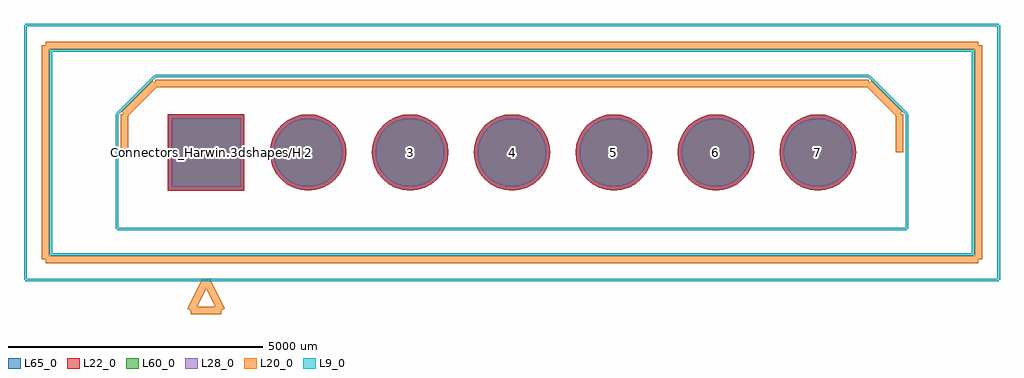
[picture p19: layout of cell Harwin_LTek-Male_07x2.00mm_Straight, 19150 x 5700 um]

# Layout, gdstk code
import gdstk
lib = gdstk.Library(unit=1e-6, precision=1e-09)
def R(c, l, rs):  # rectangles x0, y0, x1, y1
    for r in rs: c.add(gdstk.rectangle(r[:2], r[2:], *l))
def P(c, l, *ps):  # polygons
    for p in ps: c.add(gdstk.Polygon(p, *l))
L9_0 = (9, 0)
L20_0 = (20, 0)
L22_0 = (22, 0)
L28_0 = (28, 0)
L60_0 = (60, 0)
L65_0 = (65, 0)

harwin_ltek_male_07x2_00 = lib.new_cell('Harwin_LTek-Male_07x2.00mm_Straight')
R(harwin_ltek_male_07x2_00, L22_0, [(-750,-750,750,750)])
P(harwin_ltek_male_07x2_00, L22_0, [(12750,0),(12735.589,146.318),(12692.91,287.013),(12623.602,416.678),(12530.33,530.33),(12416.678,623.602),(12287.013,692.91),(12146.318,735.589),(12000,750),(11853.682,735.589),(11712.987,692.91),(11583.322,623.602),(11469.67,530.33),(11376.398,416.678),(11307.09,287.013),(11264.411,146.318),(11250,0),(11264.411,-146.318),(11307.09,-287.013),(11376.398,-416.678),(11469.67,-530.33),(11583.322,-623.602),(11712.987,-692.91),(11853.682,-735.589),(12000,-750),(12146.318,-735.589),(12287.013,-692.91),(12416.678,-623.602),(12530.33,-530.33),(12623.602,-416.678),(12692.91,-287.013),(12735.589,-146.318)],
  [(10750,0),(10735.589,146.318),(10692.91,287.013),(10623.602,416.678),(10530.33,530.33),(10416.678,623.602),(10287.013,692.91),(10146.318,735.589),(10000,750),(9853.682,735.589),(9712.987,692.91),(9583.322,623.602),(9469.67,530.33),(9376.398,416.678),(9307.09,287.013),(9264.411,146.318),(9250,0),(9264.411,-146.318),(9307.09,-287.013),(9376.398,-416.678),(9469.67,-530.33),(9583.322,-623.602),(9712.987,-692.91),(9853.682,-735.589),(10000,-750),(10146.318,-735.589),(10287.013,-692.91),(10416.678,-623.602),(10530.33,-530.33),(10623.602,-416.678),(10692.91,-287.013),(10735.589,-146.318)],
  [(8750,0),(8735.589,146.318),(8692.91,287.013),(8623.602,416.678),(8530.33,530.33),(8416.678,623.602),(8287.013,692.91),(8146.318,735.589),(8000,750),(7853.682,735.589),(7712.987,692.91),(7583.322,623.602),(7469.67,530.33),(7376.398,416.678),(7307.09,287.013),(7264.411,146.318),(7250,0),(7264.411,-146.318),(7307.09,-287.013),(7376.398,-416.678),(7469.67,-530.33),(7583.322,-623.602),(7712.987,-692.91),(7853.682,-735.589),(8000,-750),(8146.318,-735.589),(8287.013,-692.91),(8416.678,-623.602),(8530.33,-530.33),(8623.602,-416.678),(8692.91,-287.013),(8735.589,-146.318)],
  [(6750,0),(6735.589,146.318),(6692.91,287.013),(6623.602,416.678),(6530.33,530.33),(6416.678,623.602),(6287.013,692.91),(6146.318,735.589),(6000,750),(5853.682,735.589),(5712.987,692.91),(5583.322,623.602),(5469.67,530.33),(5376.398,416.678),(5307.09,287.013),(5264.411,146.318),(5250,0),(5264.411,-146.318),(5307.09,-287.013),(5376.398,-416.678),(5469.67,-530.33),(5583.322,-623.602),(5712.987,-692.91),(5853.682,-735.589),(6000,-750),(6146.318,-735.589),(6287.013,-692.91),(6416.678,-623.602),(6530.33,-530.33),(6623.602,-416.678),(6692.91,-287.013),(6735.589,-146.318)],
  [(4750,0),(4735.589,146.318),(4692.91,287.013),(4623.602,416.678),(4530.33,530.33),(4416.678,623.602),(4287.013,692.91),(4146.318,735.589),(4000,750),(3853.682,735.589),(3712.987,692.91),(3583.322,623.602),(3469.67,530.33),(3376.398,416.678),(3307.09,287.013),(3264.411,146.318),(3250,0),(3264.411,-146.318),(3307.09,-287.013),(3376.398,-416.678),(3469.67,-530.33),(3583.322,-623.602),(3712.987,-692.91),(3853.682,-735.589),(4000,-750),(4146.318,-735.589),(4287.013,-692.91),(4416.678,-623.602),(4530.33,-530.33),(4623.602,-416.678),(4692.91,-287.013),(4735.589,-146.318)],
  [(2750,0),(2735.589,146.318),(2692.91,287.013),(2623.602,416.678),(2530.33,530.33),(2416.678,623.602),(2287.013,692.91),(2146.318,735.589),(2000,750),(1853.682,735.589),(1712.987,692.91),(1583.322,623.602),(1469.67,530.33),(1376.398,416.678),(1307.09,287.013),(1264.411,146.318),(1250,0),(1264.411,-146.318),(1307.09,-287.013),(1376.398,-416.678),(1469.67,-530.33),(1583.322,-623.602),(1712.987,-692.91),(1853.682,-735.589),(2000,-750),(2146.318,-735.589),(2287.013,-692.91),(2416.678,-623.602),(2530.33,-530.33),(2623.602,-416.678),(2692.91,-287.013),(2735.589,-146.318)])
R(harwin_ltek_male_07x2_00, L28_0, [(-675,-675,675,675)])
P(harwin_ltek_male_07x2_00, L28_0, [(12675,0),(12662.03,131.686),(12623.619,258.311),(12561.242,375.01),(12477.297,477.297),(12375.01,561.242),(12258.311,623.619),(12131.686,662.03),(12000,675),(11868.314,662.03),(11741.689,623.619),(11624.99,561.242),(11522.703,477.297),(11438.758,375.01),(11376.381,258.311),(11337.97,131.686),(11325,0),(11337.97,-131.686),(11376.381,-258.311),(11438.758,-375.01),(11522.703,-477.297),(11624.99,-561.242),(11741.689,-623.619),(11868.314,-662.03),(12000,-675),(12131.686,-662.03),(12258.311,-623.619),(12375.01,-561.242),(12477.297,-477.297),(12561.242,-375.01),(12623.619,-258.311),(12662.03,-131.686)],
  [(10675,0),(10662.03,131.686),(10623.619,258.311),(10561.242,375.01),(10477.297,477.297),(10375.01,561.242),(10258.311,623.619),(10131.686,662.03),(10000,675),(9868.314,662.03),(9741.689,623.619),(9624.99,561.242),(9522.703,477.297),(9438.758,375.01),(9376.381,258.311),(9337.97,131.686),(9325,0),(9337.97,-131.686),(9376.381,-258.311),(9438.758,-375.01),(9522.703,-477.297),(9624.99,-561.242),(9741.689,-623.619),(9868.314,-662.03),(10000,-675),(10131.686,-662.03),(10258.311,-623.619),(10375.01,-561.242),(10477.297,-477.297),(10561.242,-375.01),(10623.619,-258.311),(10662.03,-131.686)],
  [(8675,0),(8662.03,131.686),(8623.619,258.311),(8561.242,375.01),(8477.297,477.297),(8375.01,561.242),(8258.311,623.619),(8131.686,662.03),(8000,675),(7868.314,662.03),(7741.689,623.619),(7624.99,561.242),(7522.703,477.297),(7438.758,375.01),(7376.381,258.311),(7337.97,131.686),(7325,0),(7337.97,-131.686),(7376.381,-258.311),(7438.758,-375.01),(7522.703,-477.297),(7624.99,-561.242),(7741.689,-623.619),(7868.314,-662.03),(8000,-675),(8131.686,-662.03),(8258.311,-623.619),(8375.01,-561.242),(8477.297,-477.297),(8561.242,-375.01),(8623.619,-258.311),(8662.03,-131.686)],
  [(6675,0),(6662.03,131.686),(6623.619,258.311),(6561.242,375.01),(6477.297,477.297),(6375.01,561.242),(6258.311,623.619),(6131.686,662.03),(6000,675),(5868.314,662.03),(5741.689,623.619),(5624.99,561.242),(5522.703,477.297),(5438.758,375.01),(5376.381,258.311),(5337.97,131.686),(5325,0),(5337.97,-131.686),(5376.381,-258.311),(5438.758,-375.01),(5522.703,-477.297),(5624.99,-561.242),(5741.689,-623.619),(5868.314,-662.03),(6000,-675),(6131.686,-662.03),(6258.311,-623.619),(6375.01,-561.242),(6477.297,-477.297),(6561.242,-375.01),(6623.619,-258.311),(6662.03,-131.686)],
  [(4675,0),(4662.03,131.686),(4623.619,258.311),(4561.242,375.01),(4477.297,477.297),(4375.01,561.242),(4258.311,623.619),(4131.686,662.03),(4000,675),(3868.314,662.03),(3741.689,623.619),(3624.99,561.242),(3522.703,477.297),(3438.758,375.01),(3376.381,258.311),(3337.97,131.686),(3325,0),(3337.97,-131.686),(3376.381,-258.311),(3438.758,-375.01),(3522.703,-477.297),(3624.99,-561.242),(3741.689,-623.619),(3868.314,-662.03),(4000,-675),(4131.686,-662.03),(4258.311,-623.619),(4375.01,-561.242),(4477.297,-477.297),(4561.242,-375.01),(4623.619,-258.311),(4662.03,-131.686)],
  [(2675,0),(2662.03,131.686),(2623.619,258.311),(2561.242,375.01),(2477.297,477.297),(2375.01,561.242),(2258.311,623.619),(2131.686,662.03),(2000,675),(1868.314,662.03),(1741.689,623.619),(1624.99,561.242),(1522.703,477.297),(1438.758,375.01),(1376.381,258.311),(1337.97,131.686),(1325,0),(1337.97,-131.686),(1376.381,-258.311),(1438.758,-375.01),(1522.703,-477.297),(1624.99,-561.242),(1741.689,-623.619),(1868.314,-662.03),(2000,-675),(2131.686,-662.03),(2258.311,-623.619),(2375.01,-561.242),(2477.297,-477.297),(2561.242,-375.01),(2623.619,-258.311),(2662.03,-131.686)])
R(harwin_ltek_male_07x2_00, L60_0, [(-675,-675,675,675)])
P(harwin_ltek_male_07x2_00, L60_0, [(12675,0),(12662.03,131.686),(12623.619,258.311),(12561.242,375.01),(12477.297,477.297),(12375.01,561.242),(12258.311,623.619),(12131.686,662.03),(12000,675),(11868.314,662.03),(11741.689,623.619),(11624.99,561.242),(11522.703,477.297),(11438.758,375.01),(11376.381,258.311),(11337.97,131.686),(11325,0),(11337.97,-131.686),(11376.381,-258.311),(11438.758,-375.01),(11522.703,-477.297),(11624.99,-561.242),(11741.689,-623.619),(11868.314,-662.03),(12000,-675),(12131.686,-662.03),(12258.311,-623.619),(12375.01,-561.242),(12477.297,-477.297),(12561.242,-375.01),(12623.619,-258.311),(12662.03,-131.686)],
  [(10675,0),(10662.03,131.686),(10623.619,258.311),(10561.242,375.01),(10477.297,477.297),(10375.01,561.242),(10258.311,623.619),(10131.686,662.03),(10000,675),(9868.314,662.03),(9741.689,623.619),(9624.99,561.242),(9522.703,477.297),(9438.758,375.01),(9376.381,258.311),(9337.97,131.686),(9325,0),(9337.97,-131.686),(9376.381,-258.311),(9438.758,-375.01),(9522.703,-477.297),(9624.99,-561.242),(9741.689,-623.619),(9868.314,-662.03),(10000,-675),(10131.686,-662.03),(10258.311,-623.619),(10375.01,-561.242),(10477.297,-477.297),(10561.242,-375.01),(10623.619,-258.311),(10662.03,-131.686)],
  [(8675,0),(8662.03,131.686),(8623.619,258.311),(8561.242,375.01),(8477.297,477.297),(8375.01,561.242),(8258.311,623.619),(8131.686,662.03),(8000,675),(7868.314,662.03),(7741.689,623.619),(7624.99,561.242),(7522.703,477.297),(7438.758,375.01),(7376.381,258.311),(7337.97,131.686),(7325,0),(7337.97,-131.686),(7376.381,-258.311),(7438.758,-375.01),(7522.703,-477.297),(7624.99,-561.242),(7741.689,-623.619),(7868.314,-662.03),(8000,-675),(8131.686,-662.03),(8258.311,-623.619),(8375.01,-561.242),(8477.297,-477.297),(8561.242,-375.01),(8623.619,-258.311),(8662.03,-131.686)],
  [(6675,0),(6662.03,131.686),(6623.619,258.311),(6561.242,375.01),(6477.297,477.297),(6375.01,561.242),(6258.311,623.619),(6131.686,662.03),(6000,675),(5868.314,662.03),(5741.689,623.619),(5624.99,561.242),(5522.703,477.297),(5438.758,375.01),(5376.381,258.311),(5337.97,131.686),(5325,0),(5337.97,-131.686),(5376.381,-258.311),(5438.758,-375.01),(5522.703,-477.297),(5624.99,-561.242),(5741.689,-623.619),(5868.314,-662.03),(6000,-675),(6131.686,-662.03),(6258.311,-623.619),(6375.01,-561.242),(6477.297,-477.297),(6561.242,-375.01),(6623.619,-258.311),(6662.03,-131.686)],
  [(4675,0),(4662.03,131.686),(4623.619,258.311),(4561.242,375.01),(4477.297,477.297),(4375.01,561.242),(4258.311,623.619),(4131.686,662.03),(4000,675),(3868.314,662.03),(3741.689,623.619),(3624.99,561.242),(3522.703,477.297),(3438.758,375.01),(3376.381,258.311),(3337.97,131.686),(3325,0),(3337.97,-131.686),(3376.381,-258.311),(3438.758,-375.01),(3522.703,-477.297),(3624.99,-561.242),(3741.689,-623.619),(3868.314,-662.03),(4000,-675),(4131.686,-662.03),(4258.311,-623.619),(4375.01,-561.242),(4477.297,-477.297),(4561.242,-375.01),(4623.619,-258.311),(4662.03,-131.686)],
  [(2675,0),(2662.03,131.686),(2623.619,258.311),(2561.242,375.01),(2477.297,477.297),(2375.01,561.242),(2258.311,623.619),(2131.686,662.03),(2000,675),(1868.314,662.03),(1741.689,623.619),(1624.99,561.242),(1522.703,477.297),(1438.758,375.01),(1376.381,258.311),(1337.97,131.686),(1325,0),(1337.97,-131.686),(1376.381,-258.311),(1438.758,-375.01),(1522.703,-477.297),(1624.99,-561.242),(1741.689,-623.619),(1868.314,-662.03),(2000,-675),(2131.686,-662.03),(2258.311,-623.619),(2375.01,-561.242),(2477.297,-477.297),(2561.242,-375.01),(2623.619,-258.311),(2662.03,-131.686)])
R(harwin_ltek_male_07x2_00, L65_0, [(-750,-750,750,750)])
P(harwin_ltek_male_07x2_00, L65_0, [(12750,0),(12735.589,146.318),(12692.91,287.013),(12623.602,416.678),(12530.33,530.33),(12416.678,623.602),(12287.013,692.91),(12146.318,735.589),(12000,750),(11853.682,735.589),(11712.987,692.91),(11583.322,623.602),(11469.67,530.33),(11376.398,416.678),(11307.09,287.013),(11264.411,146.318),(11250,0),(11264.411,-146.318),(11307.09,-287.013),(11376.398,-416.678),(11469.67,-530.33),(11583.322,-623.602),(11712.987,-692.91),(11853.682,-735.589),(12000,-750),(12146.318,-735.589),(12287.013,-692.91),(12416.678,-623.602),(12530.33,-530.33),(12623.602,-416.678),(12692.91,-287.013),(12735.589,-146.318)],
  [(10750,0),(10735.589,146.318),(10692.91,287.013),(10623.602,416.678),(10530.33,530.33),(10416.678,623.602),(10287.013,692.91),(10146.318,735.589),(10000,750),(9853.682,735.589),(9712.987,692.91),(9583.322,623.602),(9469.67,530.33),(9376.398,416.678),(9307.09,287.013),(9264.411,146.318),(9250,0),(9264.411,-146.318),(9307.09,-287.013),(9376.398,-416.678),(9469.67,-530.33),(9583.322,-623.602),(9712.987,-692.91),(9853.682,-735.589),(10000,-750),(10146.318,-735.589),(10287.013,-692.91),(10416.678,-623.602),(10530.33,-530.33),(10623.602,-416.678),(10692.91,-287.013),(10735.589,-146.318)],
  [(8750,0),(8735.589,146.318),(8692.91,287.013),(8623.602,416.678),(8530.33,530.33),(8416.678,623.602),(8287.013,692.91),(8146.318,735.589),(8000,750),(7853.682,735.589),(7712.987,692.91),(7583.322,623.602),(7469.67,530.33),(7376.398,416.678),(7307.09,287.013),(7264.411,146.318),(7250,0),(7264.411,-146.318),(7307.09,-287.013),(7376.398,-416.678),(7469.67,-530.33),(7583.322,-623.602),(7712.987,-692.91),(7853.682,-735.589),(8000,-750),(8146.318,-735.589),(8287.013,-692.91),(8416.678,-623.602),(8530.33,-530.33),(8623.602,-416.678),(8692.91,-287.013),(8735.589,-146.318)],
  [(6750,0),(6735.589,146.318),(6692.91,287.013),(6623.602,416.678),(6530.33,530.33),(6416.678,623.602),(6287.013,692.91),(6146.318,735.589),(6000,750),(5853.682,735.589),(5712.987,692.91),(5583.322,623.602),(5469.67,530.33),(5376.398,416.678),(5307.09,287.013),(5264.411,146.318),(5250,0),(5264.411,-146.318),(5307.09,-287.013),(5376.398,-416.678),(5469.67,-530.33),(5583.322,-623.602),(5712.987,-692.91),(5853.682,-735.589),(6000,-750),(6146.318,-735.589),(6287.013,-692.91),(6416.678,-623.602),(6530.33,-530.33),(6623.602,-416.678),(6692.91,-287.013),(6735.589,-146.318)],
  [(4750,0),(4735.589,146.318),(4692.91,287.013),(4623.602,416.678),(4530.33,530.33),(4416.678,623.602),(4287.013,692.91),(4146.318,735.589),(4000,750),(3853.682,735.589),(3712.987,692.91),(3583.322,623.602),(3469.67,530.33),(3376.398,416.678),(3307.09,287.013),(3264.411,146.318),(3250,0),(3264.411,-146.318),(3307.09,-287.013),(3376.398,-416.678),(3469.67,-530.33),(3583.322,-623.602),(3712.987,-692.91),(3853.682,-735.589),(4000,-750),(4146.318,-735.589),(4287.013,-692.91),(4416.678,-623.602),(4530.33,-530.33),(4623.602,-416.678),(4692.91,-287.013),(4735.589,-146.318)],
  [(2750,0),(2735.589,146.318),(2692.91,287.013),(2623.602,416.678),(2530.33,530.33),(2416.678,623.602),(2287.013,692.91),(2146.318,735.589),(2000,750),(1853.682,735.589),(1712.987,692.91),(1583.322,623.602),(1469.67,530.33),(1376.398,416.678),(1307.09,287.013),(1264.411,146.318),(1250,0),(1264.411,-146.318),(1307.09,-287.013),(1376.398,-416.678),(1469.67,-530.33),(1583.322,-623.602),(1712.987,-692.91),(1853.682,-735.589),(2000,-750),(2146.318,-735.589),(2287.013,-692.91),(2416.678,-623.602),(2530.33,-530.33),(2623.602,-416.678),(2692.91,-287.013),(2735.589,-146.318)])
harwin_ltek_male_07x2_00.add(gdstk.FlexPath([(300,-3100),(0,-2500)], 149.998, ends="flush", simple_path=True, layer=20, datatype=0))  # L20_0
harwin_ltek_male_07x2_00.add(gdstk.FlexPath([(-300,-3100),(300,-3100)], 149.998, ends="flush", simple_path=True, layer=20, datatype=0))  # L20_0
harwin_ltek_male_07x2_00.add(gdstk.FlexPath([(0,-2500),(-300,-3100)], 149.998, ends="flush", simple_path=True, layer=20, datatype=0))  # L20_0
harwin_ltek_male_07x2_00.add(gdstk.FlexPath([(13000,1350),(6000,1350)], 149.998, ends="flush", simple_path=True, layer=20, datatype=0))  # L20_0
harwin_ltek_male_07x2_00.add(gdstk.FlexPath([(13600,750),(13000,1350)], 149.998, ends="flush", simple_path=True, layer=20, datatype=0))  # L20_0
harwin_ltek_male_07x2_00.add(gdstk.FlexPath([(13600,0),(13600,750)], 149.998, ends="flush", simple_path=True, layer=20, datatype=0))  # L20_0
harwin_ltek_male_07x2_00.add(gdstk.FlexPath([(-1000,1350),(6000,1350)], 149.998, ends="flush", simple_path=True, layer=20, datatype=0))  # L20_0
harwin_ltek_male_07x2_00.add(gdstk.FlexPath([(-1600,750),(-1000,1350)], 149.998, ends="flush", simple_path=True, layer=20, datatype=0))  # L20_0
harwin_ltek_male_07x2_00.add(gdstk.FlexPath([(-1600,0),(-1600,750)], 149.998, ends="flush", simple_path=True, layer=20, datatype=0))  # L20_0
harwin_ltek_male_07x2_00.add(gdstk.FlexPath([(13750,-1500),(-1750,-1500)], 50, ends="flush", simple_path=True, layer=9, datatype=0))  # L9_0
harwin_ltek_male_07x2_00.add(gdstk.FlexPath([(13750,750),(13750,-1500)], 50, ends="flush", simple_path=True, layer=9, datatype=0))  # L9_0
harwin_ltek_male_07x2_00.add(gdstk.FlexPath([(13000,1500),(13750,750)], 50, ends="flush", simple_path=True, layer=9, datatype=0))  # L9_0
harwin_ltek_male_07x2_00.add(gdstk.FlexPath([(-1000,1500),(13000,1500)], 50, ends="flush", simple_path=True, layer=9, datatype=0))  # L9_0
harwin_ltek_male_07x2_00.add(gdstk.FlexPath([(-1750,750),(-1000,1500)], 50, ends="flush", simple_path=True, layer=9, datatype=0))  # L9_0
harwin_ltek_male_07x2_00.add(gdstk.FlexPath([(-1750,-1500),(-1750,750)], 50, ends="flush", simple_path=True, layer=9, datatype=0))  # L9_0
harwin_ltek_male_07x2_00.add(gdstk.FlexPath([(15050,2000),(-3050,2000)], 50, ends="flush", simple_path=True, layer=9, datatype=0))  # L9_0
harwin_ltek_male_07x2_00.add(gdstk.FlexPath([(15050,-2000),(15050,2000)], 50, ends="flush", simple_path=True, layer=9, datatype=0))  # L9_0
harwin_ltek_male_07x2_00.add(gdstk.FlexPath([(-3050,-2000),(15050,-2000)], 50, ends="flush", simple_path=True, layer=9, datatype=0))  # L9_0
harwin_ltek_male_07x2_00.add(gdstk.FlexPath([(-3050,2000),(-3050,-2000)], 50, ends="flush", simple_path=True, layer=9, datatype=0))  # L9_0
harwin_ltek_male_07x2_00.add(gdstk.FlexPath([(15550,2500),(-3550,2500)], 50, ends="flush", simple_path=True, layer=9, datatype=0))  # L9_0
harwin_ltek_male_07x2_00.add(gdstk.FlexPath([(15550,-2500),(15550,2500)], 50, ends="flush", simple_path=True, layer=9, datatype=0))  # L9_0
harwin_ltek_male_07x2_00.add(gdstk.FlexPath([(-3550,-2500),(15550,-2500)], 50, ends="flush", simple_path=True, layer=9, datatype=0))  # L9_0
harwin_ltek_male_07x2_00.add(gdstk.FlexPath([(-3550,2500),(-3550,-2500)], 50, ends="flush", simple_path=True, layer=9, datatype=0))  # L9_0
harwin_ltek_male_07x2_00.add(gdstk.FlexPath([(15150,2100),(-3150,2100)], 149.998, ends="flush", simple_path=True, layer=20, datatype=0))  # L20_0
harwin_ltek_male_07x2_00.add(gdstk.FlexPath([(15150,-2100),(15150,2100)], 149.998, ends="flush", simple_path=True, layer=20, datatype=0))  # L20_0
harwin_ltek_male_07x2_00.add(gdstk.FlexPath([(-3150,-2100),(15150,-2100)], 149.998, ends="flush", simple_path=True, layer=20, datatype=0))  # L20_0
harwin_ltek_male_07x2_00.add(gdstk.FlexPath([(-3150,2100),(-3150,-2100)], 149.998, ends="flush", simple_path=True, layer=20, datatype=0))  # L20_0
harwin_ltek_male_07x2_00.add(gdstk.Label('Connectors_Harwin.3dshapes/Harwin_LTek-Male_07x2.00mm_Straight.wrl', (0,0), layer=12, texttype=0))
harwin_ltek_male_07x2_00.add(gdstk.Label('7', (12000,0), layer=28, texttype=0))
harwin_ltek_male_07x2_00.add(gdstk.Label('6', (10000,0), layer=28, texttype=0))
harwin_ltek_male_07x2_00.add(gdstk.Label('5', (8000,0), layer=28, texttype=0))
harwin_ltek_male_07x2_00.add(gdstk.Label('4', (6000,0), layer=28, texttype=0))
harwin_ltek_male_07x2_00.add(gdstk.Label('3', (4000,0), layer=28, texttype=0))
harwin_ltek_male_07x2_00.add(gdstk.Label('2', (2000,0), layer=28, texttype=0))
harwin_ltek_male_07x2_00.add(gdstk.Label('1', (0,0), layer=28, texttype=0))
harwin_ltek_male_07x2_00.add(gdstk.Label('type', (6000,-4000), layer=9, texttype=0))
harwin_ltek_male_07x2_00.add(gdstk.Label('devicename', (6000,3500), layer=9, texttype=0))

lib.write_gds('Harwin_LTek-Male_07x2.00mm_Straight.gds')
